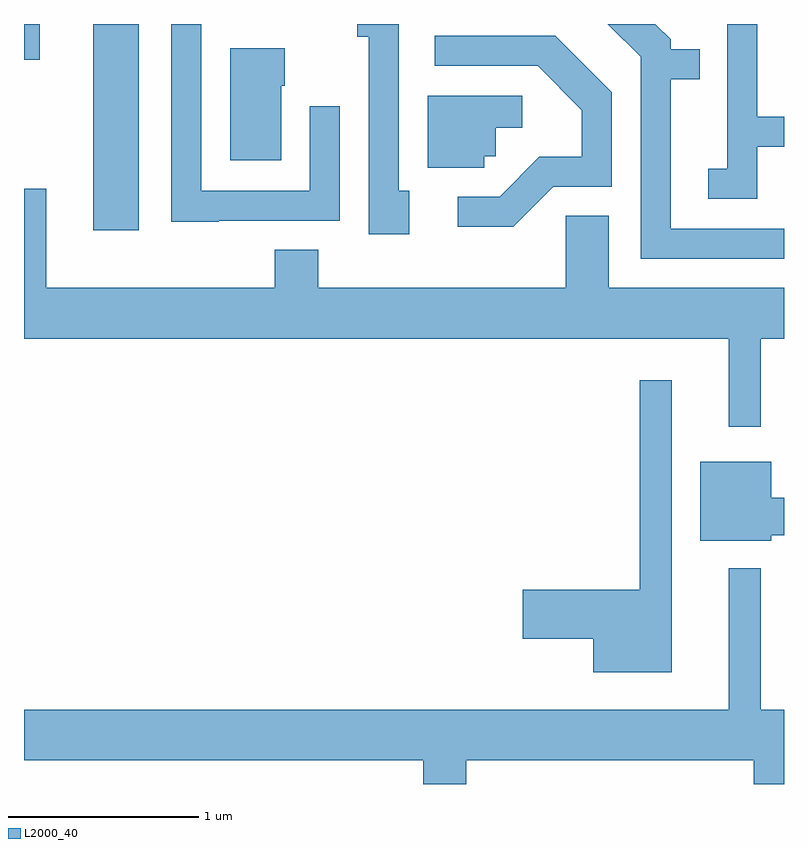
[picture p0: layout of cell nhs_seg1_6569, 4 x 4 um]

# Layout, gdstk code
import gdstk
lib = gdstk.Library(unit=1e-6, precision=1e-09)
def R(c, l, rs):  # rectangles x0, y0, x1, y1
    for r in rs: c.add(gdstk.rectangle(r[:2], r[2:], *l))
def P(c, l, *ps):  # polygons
    for p in ps: c.add(gdstk.Polygon(p, *l))
L2000_40 = (2000, 40)

nhs_seg1_6569 = lib.new_cell('nhs_seg1_6569')
R(nhs_seg1_6569, L2000_40, [(383.976,864.626,384.214,865.712), (383.611,865.523,383.694,865.712)])
P(nhs_seg1_6569, L2000_40, [(387.611,864.634),(387.014,864.634),(387.014,865.421),(387.168,865.421),(387.168,865.579),(387.014,865.579),(387.014,865.632),(386.934,865.712),(386.683,865.712),(386.856,865.539),(386.856,864.476),(387.611,864.476)],
  [(385.639,864.834),(385.584,864.834),(385.584,865.712),(385.366,865.712),(385.366,865.646),(385.426,865.646),(385.426,864.606),(385.639,864.606)],
  [(384.635,864.676),(385.274,864.676),(385.274,865.278),(385.116,865.278),(385.116,864.834),(384.544,864.834),(384.544,865.712),(384.386,865.712),(384.386,864.671),(384.635,864.671)],
  [(387.469,865.066),(387.611,865.066),(387.611,865.224),(387.469,865.224),(387.469,865.712),(387.311,865.712),(387.311,864.949),(387.213,864.949),(387.213,864.791),(387.469,864.791)],
  [(386.397,864.856),(386.704,864.856),(386.704,865.352),(386.407,865.649),(385.773,865.649),(385.773,865.491),(386.314,865.491),(386.546,865.259),(386.546,865.014),(386.324,865.014),(386.114,864.804),(385.893,864.804),(385.893,864.646),(386.187,864.646)],
  [(384.964,865.386),(384.984,865.386),(384.984,865.584),(384.696,865.584),(384.696,864.996),(384.964,864.996)],
  [(386.034,865.016),(386.094,865.016),(386.094,865.166),(386.233,865.166),(386.233,865.334),(385.736,865.334),(385.736,864.956),(386.034,864.956)],
  [(387.489,864.056),(387.611,864.056),(387.611,864.324),(386.689,864.324),(386.689,864.704),(386.461,864.704),(386.461,864.324),(385.159,864.324),(385.159,864.524),(384.931,864.524),(384.931,864.324),(383.729,864.324),(383.729,864.844),(383.611,864.844),(383.611,864.056),(387.321,864.056),(387.321,863.593),(387.489,863.593)],
  [(387.019,863.838),(386.851,863.838),(386.851,862.734),(386.236,862.734),(386.236,862.476),(386.606,862.476),(386.606,862.301),(387.019,862.301)],
  [(387.544,863.021),(387.611,863.021),(387.611,863.219),(387.544,863.219),(387.544,863.409),(387.171,863.409),(387.171,862.991),(387.544,862.991)],
  [(385.939,861.836),(387.451,861.836),(387.451,861.712),(387.611,861.712),(387.611,862.104),(387.489,862.104),(387.489,862.848),(387.321,862.848),(387.321,862.104),(383.611,862.104),(383.611,861.836),(385.711,861.836),(385.711,861.712),(385.939,861.712)])

lib.write_gds('nhs_seg1_6569.gds')
